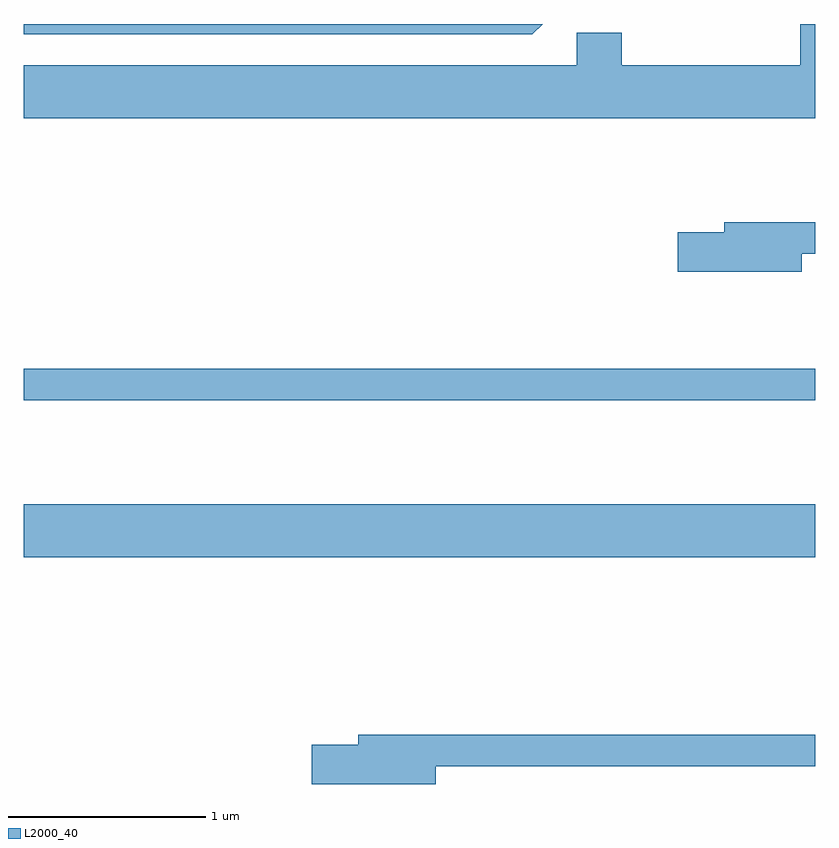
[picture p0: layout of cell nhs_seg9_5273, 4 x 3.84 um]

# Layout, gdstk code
import gdstk
lib = gdstk.Library(unit=1e-6, precision=1e-09)
def R(c, l, rs):  # rectangles x0, y0, x1, y1
    for r in rs: c.add(gdstk.rectangle(r[:2], r[2:], *l))
def P(c, l, *ps):  # polygons
    for p in ps: c.add(gdstk.Polygon(p, *l))
L2000_40 = (2000, 40)

nhs_seg9_5273 = lib.new_cell('nhs_seg9_5273')
R(nhs_seg9_5273, L2000_40, [(339.611,2071.736,343.611,2072.004), (339.611,2072.531,343.611,2072.689)])
P(nhs_seg9_5273, L2000_40, [(343.611,2074.432),(343.536,2074.432),(343.536,2074.224),(342.634,2074.224),(342.634,2074.389),(342.406,2074.389),(342.406,2074.224),(339.611,2074.224),(339.611,2073.956),(343.611,2073.956)],
  [(342.233,2074.432),(339.611,2074.432),(339.611,2074.381),(342.182,2074.381)],
  [(343.544,2073.271),(343.611,2073.271),(343.611,2073.429),(343.151,2073.429),(343.151,2073.379),(342.916,2073.379),(342.916,2073.181),(343.544,2073.181)],
  [(341.694,2070.681),(343.611,2070.681),(343.611,2070.839),(341.301,2070.839),(341.301,2070.789),(341.066,2070.789),(341.066,2070.591),(341.694,2070.591)])

lib.write_gds('nhs_seg9_5273.gds')
